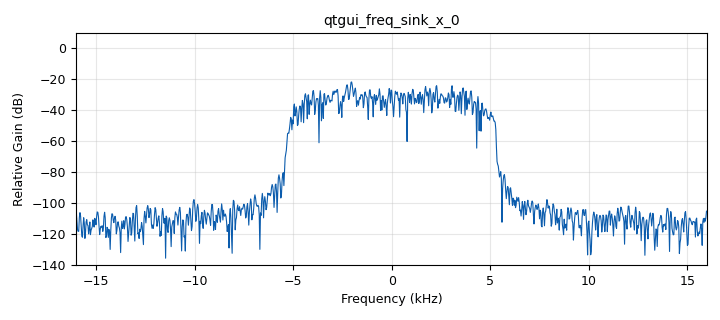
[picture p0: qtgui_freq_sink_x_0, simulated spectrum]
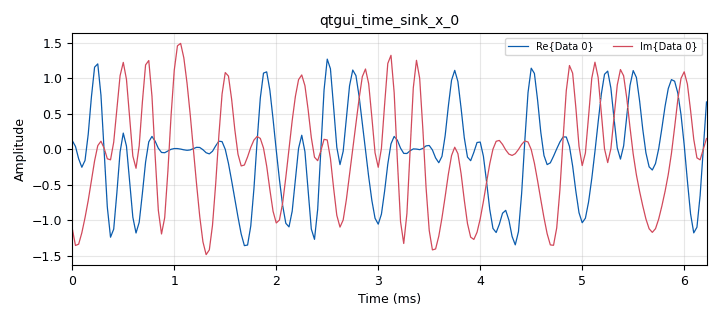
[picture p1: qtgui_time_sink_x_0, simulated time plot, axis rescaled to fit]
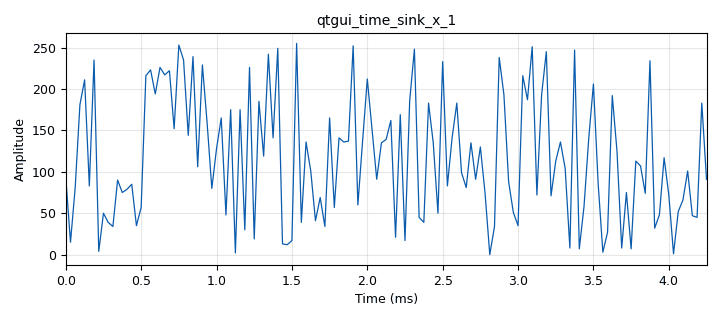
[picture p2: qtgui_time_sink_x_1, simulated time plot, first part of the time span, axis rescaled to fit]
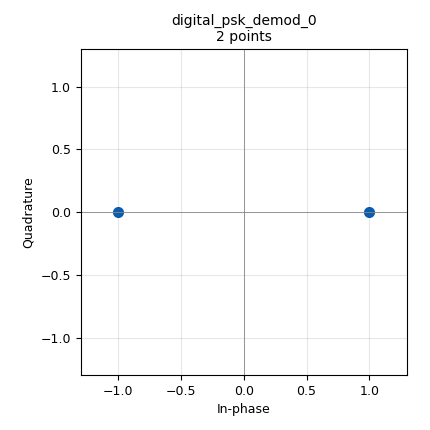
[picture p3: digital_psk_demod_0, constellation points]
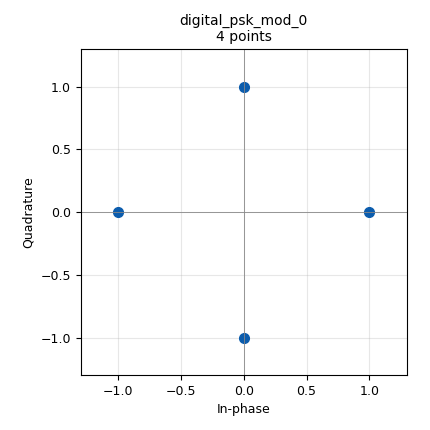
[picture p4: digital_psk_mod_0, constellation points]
options:
  parameters:
    generate_options: qt_gui
    id: psk_tx_rx
    output_language: python
    title: Not titled yet
  states: {}

blocks:
- name: samp_rate
  id: variable
  parameters:
    value: '32000'
  states: {}
- name: samp_rate_0
  id: variable
  parameters:
    value: '100000'
  states: {}
- name: analog_random_source_x_0
  id: analog_random_source_x
  parameters:
    max: '256'
    min: '0'
    num_samps: '100000'
    repeat: 'True'
    type: byte
  states: {}
- name: blocks_throttle_0
  id: blocks_throttle
  parameters:
    samples_per_second: samp_rate
    type: byte
  states: {}
- name: blocks_uchar_to_float_0
  id: blocks_uchar_to_float
  parameters: {}
  states: {}
- name: blocks_uchar_to_float_1
  id: blocks_uchar_to_float
  parameters: {}
  states: {}
- name: digital_psk_demod_0
  id: digital_psk_demod
  parameters:
    constellation_points: '2'
    differential: 'True'
    excess_bw: '0.35'
    freq_bw: '30000'
    mod_code: '"gray"'
    phase_bw: 6.28/100.0
    samples_per_symbol: '2'
    timing_bw: 6.28/100.0
  states: {}
- name: digital_psk_mod_0
  id: digital_psk_mod
  parameters:
    constellation_points: '4'
    differential: 'True'
    excess_bw: '0.35'
    mod_code: '"gray"'
    samples_per_symbol: '4'
  states: {}
- name: iio_pluto_sink_0
  id: iio_pluto_sink
  parameters:
    attenuation1: '10.0'
    bandwidth: '20000000'
    buffer_size: '32768'
    cyclic: 'False'
    filter_source: '''Auto'''
    frequency: '600000000'
    samplerate: '70000'
    type: fc32
    uri: 192.168.2.1
  states: {}
- name: iio_pluto_source_0
  id: iio_pluto_source
  parameters:
    bandwidth: '20000000'
    bbdc: 'True'
    buffer_size: '32768'
    filter_source: '''Auto'''
    frequency: '600000000'
    gain1: '''slow_attack'''
    quadrature: 'True'
    rfdc: 'True'
    samplerate: '70000'
    type: fc32
    uri: 192.168.2.1
  states: {}
- name: qtgui_freq_sink_x_0
  id: qtgui_freq_sink_x
  parameters:
    bw: samp_rate
    fc: '0'
    fftsize: '1024'
    type: complex
  states: {}
- name: qtgui_sink_x_0
  id: qtgui_sink_x
  parameters:
    bw: samp_rate
    fc: '0'
    fftsize: '1024'
    type: float
  states: {}
- name: qtgui_time_sink_x_0
  id: qtgui_time_sink_x
  parameters:
    size: '200'
    srate: samp_rate
    type: complex
  states: {}
- name: qtgui_time_sink_x_1
  id: qtgui_time_sink_x
  parameters:
    size: '1024'
    srate: samp_rate
    type: float
  states: {}

connections:
- [analog_random_source_x_0, '0', blocks_throttle_0, '0']
- [analog_random_source_x_0, '0', blocks_uchar_to_float_0, '0']
- [blocks_throttle_0, '0', digital_psk_mod_0, '0']
- [blocks_uchar_to_float_0, '0', qtgui_time_sink_x_1, '0']
- [blocks_uchar_to_float_1, '0', qtgui_sink_x_0, '0']
- [digital_psk_demod_0, '0', blocks_uchar_to_float_1, '0']
- [digital_psk_mod_0, '0', iio_pluto_sink_0, '0']
- [digital_psk_mod_0, '0', qtgui_freq_sink_x_0, '0']
- [digital_psk_mod_0, '0', qtgui_time_sink_x_0, '0']
- [iio_pluto_source_0, '0', digital_psk_demod_0, '0']

metadata:
  file_format: 1
